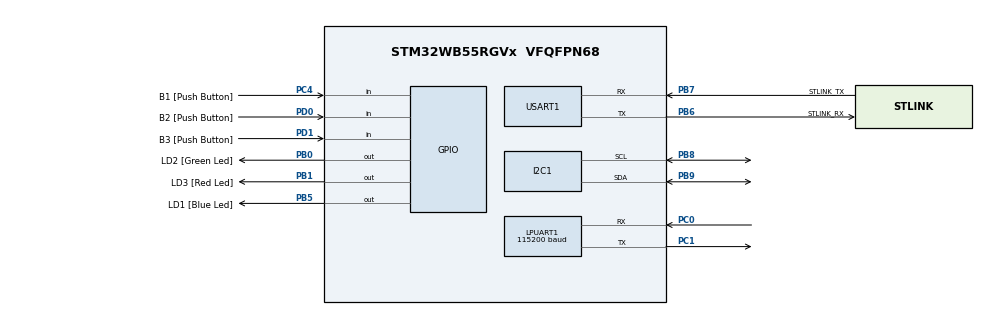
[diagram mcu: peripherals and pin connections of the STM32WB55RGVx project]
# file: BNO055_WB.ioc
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I2C1.Timing=0x00B07CB4
LPUART1.BaudRate=115200
Mcu.Family=STM32WB
Mcu.Name=STM32WB55RGVx
Mcu.Package=VFQFPN68
NVIC.PriorityGroup=NVIC_PRIORITYGROUP_4
OSC_IN.GPIO_Label=RCC_OSC_IN
OSC_IN.Mode=HSE-External-Oscillator
OSC_IN.Signal=RCC_OSC_IN
OSC_OUT.GPIO_Label=RCC_OSC_OUT
OSC_OUT.Mode=HSE-External-Oscillator
OSC_OUT.Signal=RCC_OSC_OUT
PA11.GPIO_Label=USB_DM
PA11.Signal=USB_DM
PA12.GPIO_Label=USB_DP
PA12.Signal=USB_DP
PA13.GPIO_Label=JTMS
PA13.Signal=SYS_JTMS-SWDIO
PA14.GPIO_Label=JTCK
PA14.Signal=SYS_JTCK-SWCLK
PB0.GPIO_Label=LD2 [Green Led]
PB0.Signal=GPIO_Output
PB1.GPIO_Label=LD3 [Red Led]
PB1.Signal=GPIO_Output
PB3.GPIO_Label=JTDO
PB3.Signal=SYS_JTDO-SWO
PB5.GPIO_Label=LD1 [Blue Led]
PB5.Signal=GPIO_Output
PB6.GPIO_Label=STLINK_RX
PB6.Mode=Asynchronous
PB6.Signal=USART1_TX
PB7.GPIO_Label=STLINK_TX
PB7.Mode=Asynchronous
PB7.Signal=USART1_RX
PB8.Mode=I2C
PB8.Signal=I2C1_SCL
PB9.Mode=I2C
PB9.Signal=I2C1_SDA
PC0.Mode=Asynchronous
PC0.Signal=LPUART1_RX
PC1.Mode=Asynchronous
PC1.Signal=LPUART1_TX
PC13.GPIO_Label=SYS_WKUP2
PC13.Signal=SYS_WKUP2
PC14-OSC32_IN.GPIO_Label=RCC_OSC32_IN
PC14-OSC32_IN.Mode=LSE-External-Oscillator
PC14-OSC32_IN.Signal=RCC_OSC32_IN
PC15-OSC32_OUT.GPIO_Label=RCC_OSC32_OUT
PC15-OSC32_OUT.Mode=LSE-External-Oscillator
PC15-OSC32_OUT.Signal=RCC_OSC32_OUT
PC4.GPIO_Label=B1 [Push Button]
PC4.Signal=GPIO_Input
PD0.GPIO_Label=B2 [Push Button]
PD0.Signal=GPIO_Input
PD1.GPIO_Label=B3 [Push Button]
PD1.Signal=GPIO_Input
ProjectManager.HeapSize=0x200
ProjectManager.StackSize=0x400
ProjectManager.TargetToolchain=STM32CubeIDE
RCC.ADCFreq_Value=128000000
RCC.AHBFreq_Value=32000000
RCC.APB1Freq_Value=32000000
RCC.APB1TimFreq_Value=32000000
RCC.APB2Freq_Value=32000000
RCC.APB2TimFreq_Value=32000000
RCC.APB3Freq_Value=16000000
RCC.CortexFreq_Value=32000000
RCC.HCLKFreq_Value=32000000
RCC.HSE_VALUE=32000000
RCC.HSI48_VALUE=48000000
RCC.HSI_VALUE=16000000
RCC.MSIClockRange=RCC_MSIRANGE_10
RCC.SMPSCLockSelection=RCC_SMPSCLKSOURCE_HSI
RCC.SMPSCLockSelectionVirtual=RCC_SMPSCLKSOURCE_HSI
RCC.SMPSCLockSelectionVirtualVirtual=RCC_SMPSCLKSOURCE_HSI
RCC.SMPSDivider=1
RCC.SYSCLKFreq_VALUE=32000000
RCC.USBFreq_Value=128000000
RCC.VCOOutputFreq_Value=256000000
USART1.VirtualMode-Asynchronous=VM_ASYNC
VP_MEMORYMAP_VS_MEMORYMAP.Mode=CurAppReg
board=NUCLEO-WB55RG

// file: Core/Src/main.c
/* USER CODE BEGIN Header */
/**
  ******************************************************************************
  * @file           : main.c
  * @brief          : Main program body
  ******************************************************************************
  * @attention
  *
  * Copyright (c) 2025 STMicroelectronics.
  * All rights reserved.
  *
  * This software is licensed under terms that can be found in the LICENSE file
  * in the root directory of this software component.
  * If no LICENSE file comes with this software, it is provided AS-IS.
  *
  ******************************************************************************
  */
/* USER CODE END Header */
#include "main.h"

/* USER CODE BEGIN Includes */
#include <stdio.h>
#include <string.h>
#include <stdint.h>
#include <string.h>
#include <stdbool.h>
#include "bno055.h"
#include <math.h>

/* USER CODE END Includes */

/* USER CODE BEGIN PD */
#define PI 3.14159265358979323846f  // Define PI manually
/* USER CODE END PD */

I2C_HandleTypeDef hi2c1;

UART_HandleTypeDef hlpuart1;
UART_HandleTypeDef huart1;

/* USER CODE BEGIN PV */
char txt[20]="Hello\r\n";
char msg[60];
Quaternion q_ref;
Quaternion q_current;
Quaternion q_rel;
Quaternion coordinate;
BNO bno;
/* USER CODE END PV */

void SystemClock_Config(void);
void PeriphCommonClock_Config(void);
static void MX_GPIO_Init(void);
static void MX_LPUART1_UART_Init(void);
static void MX_USART1_UART_Init(void);
static void MX_I2C1_Init(void);

int main(void)
{

  /* MCU Configuration--------------------------------------------------------*/

  /* Reset of all peripherals, Initializes the Flash interface and the Systick. */
  HAL_Init();

  /* Configure the system clock */
  SystemClock_Config();

  /* Configure the peripherals common clocks */
  PeriphCommonClock_Config();

  /* Initialize all configured peripherals */
  MX_GPIO_Init();
  MX_LPUART1_UART_Init();
  MX_USART1_UART_Init();
  MX_I2C1_Init();
  /* USER CODE BEGIN 2 */

  //Initialise BNO
  BNO_INIT(&bno, &hi2c1);

  //Calibrate BNO
  if (BNO_ReadCal(&bno)==HAL_OK){
	  sprintf(msg, "Calibrating IMU...\r\n" );
	  HAL_UART_Transmit(&huart1, (uint8_t *) msg, strlen(msg), HAL_MAX_DELAY);
	  HAL_Delay(1000);
	  sprintf(msg, "3...\r\n" );
	  HAL_UART_Transmit(&huart1, (uint8_t *) msg, strlen(msg), HAL_MAX_DELAY);
	  HAL_Delay(1000);
	  sprintf(msg, "2...\r\n" );
	  HAL_UART_Transmit(&huart1, (uint8_t *) msg, strlen(msg), HAL_MAX_DELAY);
	  HAL_Delay(1000);
	  sprintf(msg, "1...\r\n" );
	  HAL_UART_Transmit(&huart1, (uint8_t *) msg, strlen(msg), HAL_MAX_DELAY);
	  HAL_Delay(1000);
	  BNO_ReadCal(&bno);
	  while( (bno.cal_stat[3]!=3)  || (bno.cal_stat[1]!=3) ){
		  //&& (bno.cal_stat[1]!=3)
		  BNO_ReadCal(&bno);
		  sprintf(msg, "Sys: %d Gyr: %d Acc: %d Mag: %d  \r\n",bno.cal_stat[0],bno.cal_stat[1],bno.cal_stat[2],bno.cal_stat[3]);
		  HAL_UART_Transmit(&huart1, (uint8_t *) msg, strlen(msg), HAL_MAX_DELAY);
  	}
	  sprintf(msg, "Final calibration values:\r\n" );
	  HAL_UART_Transmit(&huart1, (uint8_t *) msg, strlen(msg), HAL_MAX_DELAY);
	  HAL_Delay(1000);
	  sprintf(msg, "Sys: %d Gyr: %d Acc: %d Mag: %d  \r\n",bno.cal_stat[0],bno.cal_stat[1],bno.cal_stat[2],bno.cal_stat[3]);
	  HAL_UART_Transmit(&huart1, (uint8_t *) msg, strlen(msg), HAL_MAX_DELAY);
	  HAL_Delay(1000);
  }

  //Set reference frame

  bool refCaptured = false;
  if (BNO_ReadQuart(&bno)==HAL_OK){
	  sprintf(msg, "Setting reference frame...\r\n" );
	  HAL_UART_Transmit(&huart1, (uint8_t *) msg, strlen(msg), HAL_MAX_DELAY);
	  HAL_Delay(1000);
	  sprintf(msg, "5...\r\n" );
	  HAL_UART_Transmit(&huart1, (uint8_t *) msg, strlen(msg), HAL_MAX_DELAY);
	  HAL_Delay(1000);
	  sprintf(msg, "4...\r\n" );
	  HAL_UART_Transmit(&huart1, (uint8_t *) msg, strlen(msg), HAL_MAX_DELAY);
	  HAL_Delay(1000);
	  sprintf(msg, "3...\r\n" );
	  HAL_UART_Transmit(&huart1, (uint8_t *) msg, strlen(msg), HAL_MAX_DELAY);
	  HAL_Delay(1000);
	  sprintf(msg, "2...\r\n" );
	  HAL_UART_Transmit(&huart1, (uint8_t *) msg, strlen(msg), HAL_MAX_DELAY);
	  HAL_Delay(1000);
	  sprintf(msg, "1...\r\n" );
	  HAL_UART_Transmit(&huart1, (uint8_t *) msg, strlen(msg), HAL_MAX_DELAY);
	  HAL_Delay(1000);

	  while(refCaptured==false){
		  BNO_ReadQuart(&bno);
		  q_ref.w = bno.quart[0];
		  q_ref.x = bno.quart[1];
		  q_ref.y = bno.quart[2];
		  q_ref.z = bno.quart[3];
		  sprintf(msg, "W: %.4f X: %.4f Y: %.4f Z: %.4f \r\n",bno.quart[0],bno.quart[1],bno.quart[2],bno.quart[3] );
		  HAL_UART_Transmit(&huart1, (uint8_t *) msg, strlen(msg), HAL_MAX_DELAY);
	      if (bno.quart[0]!=0){
	        refCaptured = true; // Set the flag to avoid repeated capture
	      }
	  }
	  //Print final value of ref frame
	  sprintf(msg, "Reference frame is: \r\n" );
	  HAL_UART_Transmit(&huart1, (uint8_t *) msg, strlen(msg), HAL_MAX_DELAY);
	  sprintf(msg, "W: %.4f X: %.4f Y: %.4f Z: %.4f \r\n",q_ref.w,q_ref.x,q_ref.y,q_ref.z );
	  HAL_UART_Transmit(&huart1, (uint8_t *) msg, strlen(msg), HAL_MAX_DELAY);
	  HAL_Delay(3000);
  }

  /* USER CODE END 2 */

  /* Infinite loop */
  /* USER CODE BEGIN WHILE */
  while (1)
  {
	   //Print Quart

	  if (BNO_ReadQuart(&bno)==HAL_OK){
		  BNO_ReadQuart(&bno);

		  //Assigning qcurrent
		  q_current.w = bno.quart[0];
		  q_current.x = bno.quart[1];
		  q_current.y = bno.quart[2];
		  q_current.z = bno.quart[3];

		  //Conjugate of qcurrent
		  Quaternion qcurrent_conjugate=quaternion_conjugate(&q_current);

		  //Calculating q_rel
		  q_rel=quaternion_multiply(&q_ref, &qcurrent_conjugate);
      	  sprintf(msg, "W: %.4f X: %.4f Y: %.4f Z: %.4f \r\n",q_rel.w,q_rel.x,q_rel.y,q_rel.z );
		  HAL_UART_Transmit(&huart1, (uint8_t *) msg, strlen(msg), HAL_MAX_DELAY);

		  float angle=2*acosf(q_rel.w)/PI*180.0f;
      	  sprintf(msg, "Angle: %.4f  \r\n",angle );
		  HAL_UART_Transmit(&huart1, (uint8_t *) msg, strlen(msg), HAL_MAX_DELAY);

		  HAL_Delay(100);

	  }
//	  // Print Cal_Stat
//
//	  if (BNO_ReadCal(&bno)==HAL_OK){
//		  BNO_ReadCal(&bno);
//      	  sprintf(msg, "Sys: %d Gyr: %d Acc: %d Mag: %d  \r\n",bno.cal_stat[0],bno.cal_stat[1],bno.cal_stat[2],bno.cal_stat[3]);
//		  HAL_UART_Transmit(&huart1, (uint8_t *) msg, strlen(msg), HAL_MAX_DELAY);
//      	  HAL_Delay(30);
//	  }

	  //Check multiplication quaternion

//	  Quaternion q1 = {1, 2, 3, 4};
//	  Quaternion q2 = {2, 3, 4, 1};
//	  Quaternion result = quaternion_multiply(&q1, &q2);
//	  sprintf(msg, "W: %.4f X: %.4f Y: %.4f Z: %.4f \r\n",result.w,result.x,result.y,result.z );
//	  HAL_UART_Transmit(&huart1, (uint8_t *) msg, strlen(msg), HAL_MAX_DELAY);
//	  HAL_Delay(1000);

    /* USER CODE END WHILE */

  }
}

void SystemClock_Config(void)
{
  RCC_OscInitTypeDef RCC_OscInitStruct = {0};
  RCC_ClkInitTypeDef RCC_ClkInitStruct = {0};

  /** Configure the main internal regulator output voltage
  */
  __HAL_PWR_VOLTAGESCALING_CONFIG(PWR_REGULATOR_VOLTAGE_SCALE1);

  /** Initializes the RCC Oscillators according to the specified parameters
  * in the RCC_OscInitTypeDef structure.
  */
  RCC_OscInitStruct.OscillatorType = RCC_OSCILLATORTYPE_HSI|RCC_OSCILLATORTYPE_HSE
                              |RCC_OSCILLATORTYPE_MSI;
  RCC_OscInitStruct.HSEState = RCC_HSE_ON;
  RCC_OscInitStruct.HSIState = RCC_HSI_ON;
  RCC_OscInitStruct.MSIState = RCC_MSI_ON;
  RCC_OscInitStruct.HSICalibrationValue = RCC_HSICALIBRATION_DEFAULT;
  RCC_OscInitStruct.MSICalibrationValue = RCC_MSICALIBRATION_DEFAULT;
  RCC_OscInitStruct.MSIClockRange = RCC_MSIRANGE_10;
  RCC_OscInitStruct.PLL.PLLState = RCC_PLL_NONE;
  if (HAL_RCC_OscConfig(&RCC_OscInitStruct) != HAL_OK)
  {
    Error_Handler();
  }

  /** Configure the SYSCLKSource, HCLK, PCLK1 and PCLK2 clocks dividers
  */
  RCC_ClkInitStruct.ClockType = RCC_CLOCKTYPE_HCLK4|RCC_CLOCKTYPE_HCLK2
                              |RCC_CLOCKTYPE_HCLK|RCC_CLOCKTYPE_SYSCLK
                              |RCC_CLOCKTYPE_PCLK1|RCC_CLOCKTYPE_PCLK2;
  RCC_ClkInitStruct.SYSCLKSource = RCC_SYSCLKSOURCE_MSI;
  RCC_ClkInitStruct.AHBCLKDivider = RCC_SYSCLK_DIV1;
  RCC_ClkInitStruct.APB1CLKDivider = RCC_HCLK_DIV1;
  RCC_ClkInitStruct.APB2CLKDivider = RCC_HCLK_DIV1;
  RCC_ClkInitStruct.AHBCLK2Divider = RCC_SYSCLK_DIV1;
  RCC_ClkInitStruct.AHBCLK4Divider = RCC_SYSCLK_DIV1;

  if (HAL_RCC_ClockConfig(&RCC_ClkInitStruct, FLASH_LATENCY_1) != HAL_OK)
  {
    Error_Handler();
  }
}

void PeriphCommonClock_Config(void)
{
  RCC_PeriphCLKInitTypeDef PeriphClkInitStruct = {0};

  /** Initializes the peripherals clock
  */
  PeriphClkInitStruct.PeriphClockSelection = RCC_PERIPHCLK_SMPS;
  PeriphClkInitStruct.SmpsClockSelection = RCC_SMPSCLKSOURCE_HSI;
  PeriphClkInitStruct.SmpsDivSelection = RCC_SMPSCLKDIV_RANGE0;

  if (HAL_RCCEx_PeriphCLKConfig(&PeriphClkInitStruct) != HAL_OK)
  {
    Error_Handler();
  }
}

static void MX_I2C1_Init(void)
{

  hi2c1.Instance = I2C1;
  hi2c1.Init.Timing = 0x00B07CB4;
  hi2c1.Init.OwnAddress1 = 0;
  hi2c1.Init.AddressingMode = I2C_ADDRESSINGMODE_7BIT;
  hi2c1.Init.DualAddressMode = I2C_DUALADDRESS_DISABLE;
  hi2c1.Init.OwnAddress2 = 0;
  hi2c1.Init.OwnAddress2Masks = I2C_OA2_NOMASK;
  hi2c1.Init.GeneralCallMode = I2C_GENERALCALL_DISABLE;
  hi2c1.Init.NoStretchMode = I2C_NOSTRETCH_DISABLE;
  if (HAL_I2C_Init(&hi2c1) != HAL_OK)
  {
    Error_Handler();
  }

  /** Configure Analogue filter
  */
  if (HAL_I2CEx_ConfigAnalogFilter(&hi2c1, I2C_ANALOGFILTER_ENABLE) != HAL_OK)
  {
    Error_Handler();
  }

  /** Configure Digital filter
  */
  if (HAL_I2CEx_ConfigDigitalFilter(&hi2c1, 0) != HAL_OK)
  {
    Error_Handler();
  }

}

static void MX_LPUART1_UART_Init(void)
{

  hlpuart1.Instance = LPUART1;
  hlpuart1.Init.BaudRate = 115200;
  hlpuart1.Init.WordLength = UART_WORDLENGTH_8B;
  hlpuart1.Init.StopBits = UART_STOPBITS_1;
  hlpuart1.Init.Parity = UART_PARITY_NONE;
  hlpuart1.Init.Mode = UART_MODE_TX_RX;
  hlpuart1.Init.HwFlowCtl = UART_HWCONTROL_NONE;
  hlpuart1.Init.OneBitSampling = UART_ONE_BIT_SAMPLE_DISABLE;
  hlpuart1.Init.ClockPrescaler = UART_PRESCALER_DIV1;
  hlpuart1.AdvancedInit.AdvFeatureInit = UART_ADVFEATURE_NO_INIT;
  hlpuart1.FifoMode = UART_FIFOMODE_DISABLE;
  if (HAL_UART_Init(&hlpuart1) != HAL_OK)
  {
    Error_Handler();
  }
  if (HAL_UARTEx_SetTxFifoThreshold(&hlpuart1, UART_TXFIFO_THRESHOLD_1_8) != HAL_OK)
  {
    Error_Handler();
  }
  if (HAL_UARTEx_SetRxFifoThreshold(&hlpuart1, UART_RXFIFO_THRESHOLD_1_8) != HAL_OK)
  {
    Error_Handler();
  }
  if (HAL_UARTEx_DisableFifoMode(&hlpuart1) != HAL_OK)
  {
    Error_Handler();
  }

}

static void MX_USART1_UART_Init(void)
{

  huart1.Instance = USART1;
  huart1.Init.BaudRate = 115200;
  huart1.Init.WordLength = UART_WORDLENGTH_8B;
  huart1.Init.StopBits = UART_STOPBITS_1;
  huart1.Init.Parity = UART_PARITY_NONE;
  huart1.Init.Mode = UART_MODE_TX_RX;
  huart1.Init.HwFlowCtl = UART_HWCONTROL_NONE;
  huart1.Init.OverSampling = UART_OVERSAMPLING_16;
  huart1.Init.OneBitSampling = UART_ONE_BIT_SAMPLE_DISABLE;
  huart1.Init.ClockPrescaler = UART_PRESCALER_DIV1;
  huart1.AdvancedInit.AdvFeatureInit = UART_ADVFEATURE_NO_INIT;
  if (HAL_UART_Init(&huart1) != HAL_OK)
  {
    Error_Handler();
  }
  if (HAL_UARTEx_SetTxFifoThreshold(&huart1, UART_TXFIFO_THRESHOLD_1_8) != HAL_OK)
  {
    Error_Handler();
  }
  if (HAL_UARTEx_SetRxFifoThreshold(&huart1, UART_RXFIFO_THRESHOLD_1_8) != HAL_OK)
  {
    Error_Handler();
  }
  if (HAL_UARTEx_DisableFifoMode(&huart1) != HAL_OK)
  {
    Error_Handler();
  }

}

static void MX_GPIO_Init(void)
{
  GPIO_InitTypeDef GPIO_InitStruct = {0};

  /* GPIO Ports Clock Enable */
  __HAL_RCC_GPIOC_CLK_ENABLE();
  __HAL_RCC_GPIOB_CLK_ENABLE();
  __HAL_RCC_GPIOA_CLK_ENABLE();
  __HAL_RCC_GPIOD_CLK_ENABLE();

  /*Configure GPIO pin Output Level */
  HAL_GPIO_WritePin(GPIOB, LD2_Pin|LD3_Pin|LD1_Pin, GPIO_PIN_RESET);

  /*Configure GPIO pin : B1_Pin */
  GPIO_InitStruct.Pin = B1_Pin;
  GPIO_InitStruct.Mode = GPIO_MODE_INPUT;
  GPIO_InitStruct.Pull = GPIO_NOPULL;
  HAL_GPIO_Init(B1_GPIO_Port, &GPIO_InitStruct);

  /*Configure GPIO pins : LD2_Pin LD3_Pin LD1_Pin */
  GPIO_InitStruct.Pin = LD2_Pin|LD3_Pin|LD1_Pin;
  GPIO_InitStruct.Mode = GPIO_MODE_OUTPUT_PP;
  GPIO_InitStruct.Pull = GPIO_NOPULL;
  GPIO_InitStruct.Speed = GPIO_SPEED_FREQ_LOW;
  HAL_GPIO_Init(GPIOB, &GPIO_InitStruct);

  /*Configure GPIO pins : USB_DM_Pin USB_DP_Pin */
  GPIO_InitStruct.Pin = USB_DM_Pin|USB_DP_Pin;
  GPIO_InitStruct.Mode = GPIO_MODE_AF_PP;
  GPIO_InitStruct.Pull = GPIO_NOPULL;
  GPIO_InitStruct.Speed = GPIO_SPEED_FREQ_LOW;
  GPIO_InitStruct.Alternate = GPIO_AF10_USB;
  HAL_GPIO_Init(GPIOA, &GPIO_InitStruct);

  /*Configure GPIO pins : B2_Pin B3_Pin */
  GPIO_InitStruct.Pin = B2_Pin|B3_Pin;
  GPIO_InitStruct.Mode = GPIO_MODE_INPUT;
  GPIO_InitStruct.Pull = GPIO_NOPULL;
  HAL_GPIO_Init(GPIOD, &GPIO_InitStruct);

}

void Error_Handler(void)
{
  __disable_irq();
  while (1)
  {
  }
}
